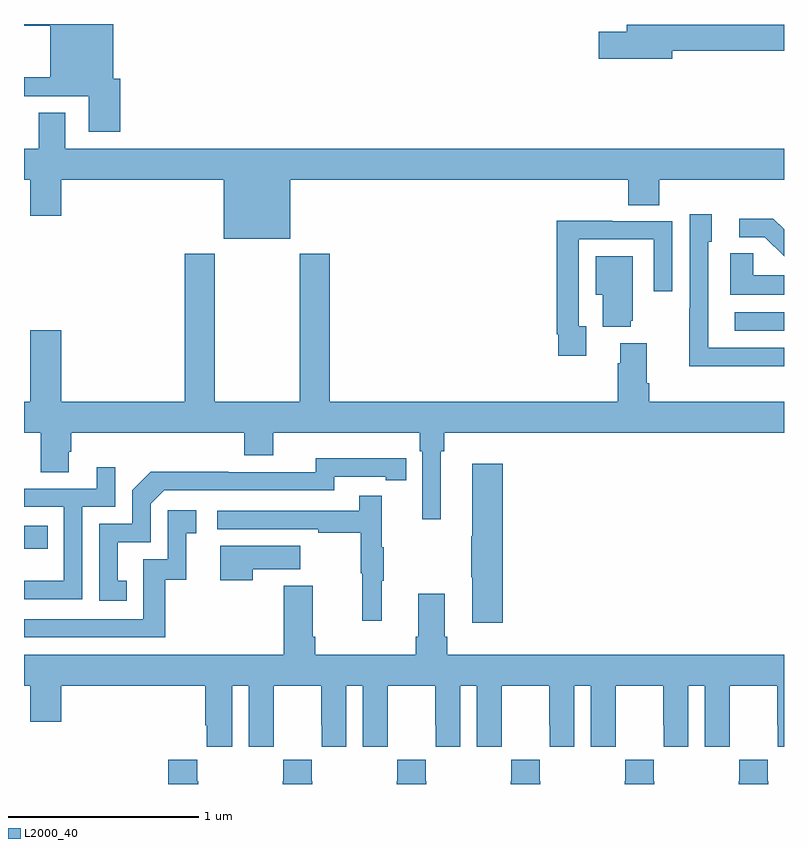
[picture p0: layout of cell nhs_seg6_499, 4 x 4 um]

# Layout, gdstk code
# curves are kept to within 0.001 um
import gdstk
lib = gdstk.Library(unit=1e-6, precision=1e-09)
def R(c, l, rs):  # rectangles x0, y0, x1, y1
    for r in rs: c.add(gdstk.rectangle(r[:2], r[2:], *l))
def P(c, l, *ps):  # polygons
    for p in ps: c.add(gdstk.Polygon(p, *l))
L2000_40 = (2000, 40)

nhs_seg6_499 = lib.new_cell('nhs_seg6_499')
R(nhs_seg6_499, L2000_40, [(141,934.737,141.125,934.86), (144.741,935.886,145,935.982)])
P(nhs_seg6_499, L2000_40, [(141.506,937.212),(141.469,937.212),(141.469,937.5),(141,937.5),(141,937.49),(141.137,937.49),(141.137,937.22),(141,937.22),(141,937.119),(141.341,937.119),(141.341,936.933),(141.506,936.933)],
  [(144.412,937.36),(145,937.36),(145,937.496),(144.173,937.496),(144.173,937.46),(144.024,937.46),(144.024,937.318),(144.412,937.318)],
  [(142.402,936.68),(144.179,936.68),(144.179,936.547),(144.344,936.547),(144.344,936.68),(145,936.68),(145,936.844),(141.217,936.844),(141.217,937.034),(141.077,937.034),(141.077,936.844),(141,936.844),(141,936.68),(141.032,936.68),(141.032,936.492),(141.196,936.492),(141.196,936.68),(142.052,936.68),(142.052,936.371),(142.402,936.371)],
  [(144.965,935.7),(145,935.7),(145,935.796),(144.6,935.796),(144.6,936.354),(144.619,936.354),(144.619,936.499),(144.504,936.499),(144.504,936.005),(144.502,936.005),(144.502,935.699),(144.965,935.699)],
  [(145,936.419),(144.943,936.476),(144.765,936.476),(144.765,936.378),(144.899,936.378),(145,936.277)],
  [(143.959,935.91),(143.919,935.91),(143.919,936.366),(144.315,936.366),(144.315,936.093),(144.411,936.093),(144.411,936.462),(144.095,936.462),(144.095,936.464),(143.803,936.464),(143.803,935.866),(143.811,935.866),(143.811,935.754),(143.959,935.754)],
  [(145,936.178),(144.837,936.178),(144.837,936.293),(144.716,936.293),(144.716,936.074),(145,936.074)],
  [(142.16,935.231),(142.312,935.231),(142.312,935.348),(143.084,935.348),(143.084,935.252),(143.097,935.252),(143.097,934.893),(143.194,934.893),(143.194,935.252),(143.213,935.252),(143.213,935.348),(145,935.348),(145,935.512),(144.29,935.512),(144.29,935.608),(144.277,935.608),(144.277,935.821),(144.137,935.821),(144.137,935.714),(144.125,935.714),(144.125,935.512),(142.61,935.512),(142.61,936.292),(142.45,936.292),(142.45,935.512),(142.005,935.512),(142.005,936.292),(141.845,936.292),(141.845,935.512),(141.196,935.512),(141.196,935.887),(141.032,935.887),(141.032,935.512),(141,935.512),(141,935.348),(141.088,935.348),(141.088,935.14),(141.235,935.14),(141.235,935.25),(141.248,935.25),(141.248,935.348),(142.16,935.348)],
  [(144.194,935.937),(144.205,935.937),(144.205,936.277),(144.008,936.277),(144.008,936.074),(144.047,936.074),(144.047,935.906),(144.194,935.906)],
  [(141.542,934.569),(141.493,934.569),(141.493,934.773),(141.666,934.773),(141.666,934.974),(141.738,935.046),(142.632,935.046),(142.632,935.118),(142.904,935.118),(142.904,935.098),(143.012,935.098),(143.012,935.214),(142.536,935.215),(142.536,935.142),(142.076,935.142),(142.076,935.144),(141.668,935.144),(141.57,935.046),(141.57,934.869),(141.396,934.869),(141.396,934.464),(141.542,934.464)],
  [(143.519,935.185),(143.36,935.185),(143.36,934.805),(143.353,934.805),(143.353,934.588),(143.36,934.588),(143.36,934.35),(143.519,934.35)],
  [(141.306,934.959),(141.48,934.959),(141.48,935.167),(141.383,935.167),(141.383,935.055),(141,935.055),(141,934.959),(141.21,934.959),(141.21,934.57),(141,934.57),(141,934.473),(141.306,934.473)],
  [(142.883,934.571),(142.894,934.571),(142.894,934.745),(142.883,934.745),(142.883,935.017),(142.765,935.017),(142.765,934.938),(142.017,934.938),(142.017,934.842),(142.549,934.842),(142.549,934.822),(142.773,934.822),(142.773,934.608),(142.78,934.608),(142.78,934.359),(142.883,934.359)],
  [(141.743,934.575),(141.854,934.575),(141.854,934.821),(141.907,934.821),(141.907,934.942),(141.756,934.942),(141.756,934.683),(141.627,934.683),(141.627,934.368),(141,934.368),(141,934.272),(141.743,934.272)],
  [(142.205,934.631),(142.453,934.631),(142.453,934.753),(142.034,934.753),(142.034,934.572),(142.205,934.572)],
  [(141,934.016),(141.032,934.016),(141.032,933.828),(141.196,933.828),(141.196,934.016),(141.953,934.016),(141.953,933.808),(141.962,933.808),(141.962,933.696),(142.096,933.696),(142.096,934.016),(142.184,934.016),(142.184,933.696),(142.314,933.696),(142.314,933.808),(142.315,933.808),(142.315,934.016),(142.565,934.016),(142.565,933.808),(142.566,933.808),(142.566,933.696),(142.696,933.696),(142.696,934.016),(142.784,934.016),(142.784,933.696),(142.914,933.696),(142.914,933.808),(142.915,933.808),(142.915,934.016),(143.165,934.016),(143.165,933.808),(143.166,933.808),(143.166,933.696),(143.296,933.696),(143.296,934.016),(143.384,934.016),(143.384,933.696),(143.514,933.696),(143.514,933.808),(143.515,933.808),(143.515,934.016),(143.765,934.016),(143.765,933.808),(143.766,933.808),(143.766,933.696),(143.896,933.696),(143.896,934.016),(143.984,934.016),(143.984,933.696),(144.114,933.696),(144.114,933.808),(144.115,933.808),(144.115,934.016),(144.365,934.016),(144.365,933.808),(144.366,933.808),(144.366,933.696),(144.496,933.696),(144.496,934.016),(144.584,934.016),(144.584,933.696),(144.714,933.696),(144.714,933.808),(144.715,933.808),(144.715,934.016),(144.965,934.016),(144.965,933.808),(144.966,933.808),(144.966,933.696),(145,933.696),(145,934.18),(143.228,934.18),(143.228,934.276),(143.215,934.276),(143.215,934.501),(143.075,934.501),(143.075,934.276),(143.063,934.276),(143.063,934.18),(142.532,934.18),(142.532,934.276),(142.519,934.276),(142.519,934.543),(142.367,934.543),(142.367,934.18),(141,934.18)],
  [(143.718,933.515),(143.715,933.515),(143.715,933.628),(143.565,933.628),(143.565,933.515),(143.563,933.515),(143.563,933.5),(143.718,933.5)],
  [(143.118,933.515),(143.115,933.515),(143.115,933.628),(142.965,933.628),(142.965,933.515),(142.963,933.515),(142.963,933.5),(143.118,933.5)],
  [(142.518,933.515),(142.515,933.515),(142.515,933.628),(142.365,933.628),(142.365,933.515),(142.363,933.515),(142.363,933.5),(142.518,933.5)],
  [(141.918,933.515),(141.911,933.515),(141.911,933.628),(141.758,933.628),(141.758,933.5),(141.918,933.5)],
  [(144.918,933.515),(144.915,933.515),(144.915,933.628),(144.765,933.628),(144.765,933.515),(144.763,933.515),(144.763,933.5),(144.918,933.5)],
  [(144.318,933.515),(144.315,933.515),(144.315,933.628),(144.165,933.628),(144.165,933.515),(144.163,933.515),(144.163,933.5),(144.318,933.5)])

lib.write_gds('nhs_seg6_499.gds')
